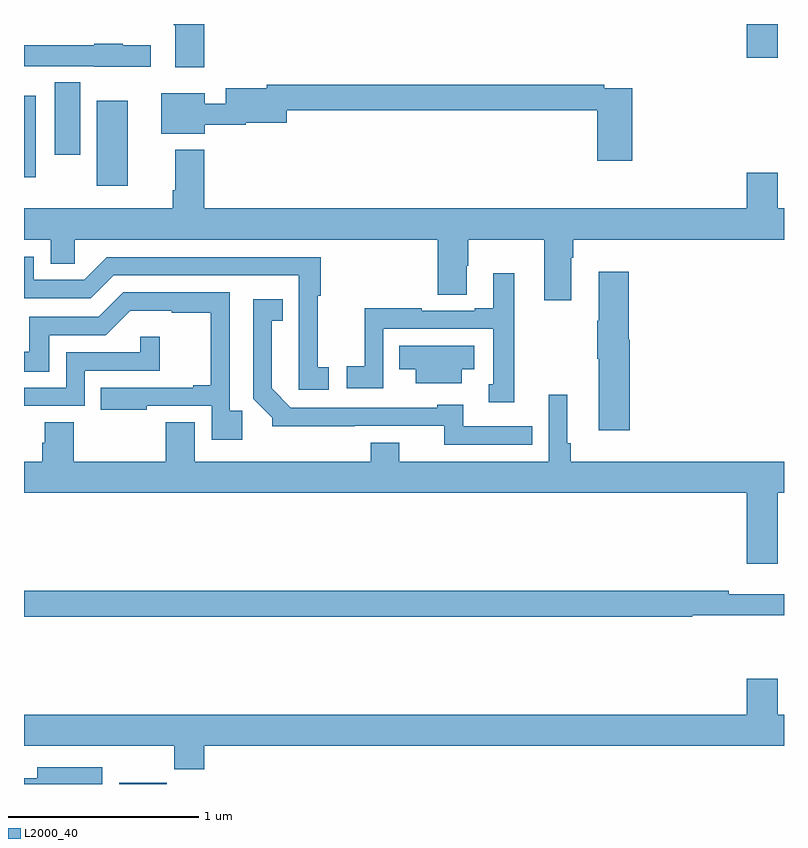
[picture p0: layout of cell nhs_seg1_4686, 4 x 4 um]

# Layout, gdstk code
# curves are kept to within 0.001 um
import gdstk
lib = gdstk.Library(unit=1e-6, precision=1e-09)
def R(c, l, rs):  # rectangles x0, y0, x1, y1
    for r in rs: c.add(gdstk.rectangle(r[:2], r[2:], *l))
def P(c, l, *ps):  # polygons
    for p in ps: c.add(gdstk.Polygon(p, *l))
L2000_40 = (2000, 40)

nhs_seg1_4686 = lib.new_cell('nhs_seg1_4686')
R(nhs_seg1_4686, L2000_40, [(365.501,550.199,365.75,550.206), (365.384,553.347,365.545,553.795), (365,553.392,365.062,553.822), (365.162,553.512,365.296,553.892), (368.804,554.022,368.968,554.199)])
P(nhs_seg1_4686, L2000_40, [(365.948,554.199),(365.788,554.199),(365.788,554.192),(365.795,554.192),(365.795,553.971),(365.948,553.971)],
  [(365.668,554.086),(365.52,554.086),(365.52,554.095),(365.37,554.095),(365.37,554.086),(365,554.086),(365,553.976),(365.058,553.976),(365.058,553.977),(365.37,553.977),(365.37,553.973),(365.668,553.973)],
  [(368.201,553.86),(368.054,553.86),(368.054,553.88),(366.278,553.88),(366.278,553.861),(366.062,553.861),(366.062,553.778),(365.95,553.778),(365.95,553.834),(365.723,553.834),(365.723,553.622),(365.95,553.622),(365.95,553.668),(366.166,553.668),(366.166,553.679),(366.382,553.679),(366.382,553.744),(368.018,553.744),(368.018,553.479),(368.201,553.479)],
  [(367.879,552.968),(367.892,552.968),(367.892,553.064),(369,553.064),(369,553.228),(368.968,553.228),(368.968,553.417),(368.804,553.417),(368.804,553.228),(365.948,553.228),(365.948,553.537),(365.795,553.537),(365.795,553.324),(365.783,553.324),(365.783,553.228),(365,553.228),(365,553.064),(365.141,553.064),(365.141,552.937),(365.268,552.937),(365.268,553.064),(367.178,553.064),(367.178,552.775),(367.33,552.775),(367.33,552.926),(367.338,552.926),(367.338,553.064),(367.739,553.064),(367.739,552.744),(367.879,552.744)],
  [(366.604,552.393),(366.546,552.393),(366.546,552.769),(366.563,552.769),(366.563,552.972),(365.436,552.972),(365.316,552.852),(365.052,552.852),(365.052,552.975),(365,552.975),(365,552.756),(365.352,552.756),(365.472,552.876),(366.447,552.876),(366.446,552.273),(366.604,552.273)],
  [(368.188,552.537),(368.183,552.537),(368.183,552.895),(368.024,552.895),(368.024,552.637),(368.017,552.637),(368.017,552.437),(368.024,552.437),(368.024,552.06),(368.188,552.06)],
  [(367.579,552.886),(367.469,552.886),(367.469,552.703),(367.373,552.703),(367.373,552.69),(367.094,552.69),(367.094,552.703),(366.793,552.703),(366.793,552.398),(366.699,552.398),(366.699,552.282),(366.891,552.282),(366.891,552.594),(367.47,552.594),(367.47,552.303),(367.445,552.303),(367.445,552.209),(367.579,552.209)],
  [(366.149,552.163),(366.084,552.163),(366.084,552.786),(365.523,552.786),(365.394,552.657),(365.027,552.657),(365.027,552.474),(365,552.474),(365,552.37),(365.134,552.37),(365.134,552.561),(365.43,552.561),(365.558,552.689),(365.777,552.689),(365.777,552.678),(365.983,552.678),(365.983,552.298),(365.891,552.298),(365.891,552.285),(365.404,552.285),(365.404,552.17),(365.647,552.17),(365.647,552.189),(365.988,552.189),(365.988,552.012),(366.149,552.012)],
  [(367.676,552.081),(367.312,552.081),(367.312,552.196),(367.176,552.196),(367.176,552.18),(366.405,552.18),(366.304,552.281),(366.304,552.638),(366.362,552.638),(366.362,552.751),(366.207,552.751),(366.207,552.226),(366.306,552.127),(366.306,552.083),(367.213,552.084),(367.213,551.985),(367.676,551.985)],
  [(365.319,552.375),(365.714,552.375),(365.714,552.553),(365.613,552.553),(365.613,552.471),(365.223,552.471),(365.223,552.285),(365,552.285),(365,552.189),(365.319,552.189)],
  [(367.303,552.383),(367.369,552.383),(367.369,552.505),(366.976,552.505),(366.976,552.383),(367.061,552.383),(367.061,552.308),(367.303,552.308)],
  [(368.968,551.732),(369,551.732),(369,551.896),(367.877,551.896),(367.877,551.992),(367.858,551.992),(367.858,552.247),(367.761,552.247),(367.761,551.896),(366.976,551.896),(366.976,551.995),(366.824,551.995),(366.824,551.896),(365.899,551.896),(365.899,552.104),(365.747,552.104),(365.747,551.896),(365.261,551.896),(365.261,552.104),(365.108,552.104),(365.108,551.994),(365.096,551.994),(365.096,551.896),(365,551.896),(365,551.732),(368.804,551.732),(368.804,551.358),(368.968,551.358)],
  [(368.518,551.088),(369,551.088),(369,551.197),(368.708,551.197),(368.708,551.216),(365,551.216),(365,551.08),(368.518,551.08)],
  [(365.948,550.4),(369,550.4),(369,550.564),(368.968,550.564),(368.968,550.753),(368.804,550.753),(368.804,550.564),(365,550.564),(365,550.4),(365.791,550.4),(365.791,550.276),(365.948,550.276)],
  [(365.413,550.288),(365.069,550.288),(365.069,550.228),(365,550.228),(365,550.199),(365.413,550.199)])

lib.write_gds('nhs_seg1_4686.gds')
